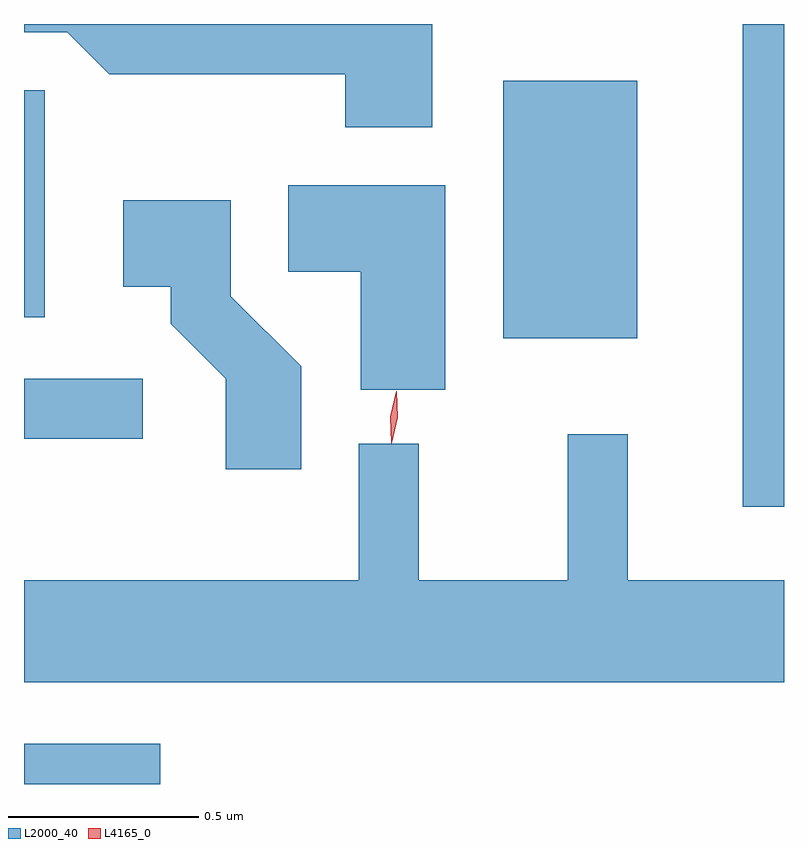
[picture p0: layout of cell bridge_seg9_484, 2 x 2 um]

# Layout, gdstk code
import gdstk
lib = gdstk.Library(unit=1e-6, precision=1e-09)
def R(c, l, rs):  # rectangles x0, y0, x1, y1
    for r in rs: c.add(gdstk.rectangle(r[:2], r[2:], *l))
def P(c, l, *ps):  # polygons
    for p in ps: c.add(gdstk.Polygon(p, *l))
L2000_40 = (2000, 40)
L4165_0 = (4165, 0)

bridge_seg9_484 = lib.new_cell('bridge_seg9_484')
R(bridge_seg9_484, L2000_40, [(438.615,1991.548,438.974,1991.654), (440.506,1992.278,440.615,1993.548), (438.615,1992.456,438.928,1992.614), (439.876,1992.721,440.229,1993.399), (438.615,1992.776,438.669,1993.374)])
P(bridge_seg9_484, L2000_40, [(439.689,1993.548),(438.615,1993.548),(438.615,1993.526),(438.729,1993.526),(438.839,1993.416),(439.461,1993.416),(439.461,1993.276),(439.689,1993.276)],
  [(439.724,1993.124),(439.311,1993.124),(439.311,1992.896),(439.501,1992.896),(439.501,1992.586),(439.724,1992.586)],
  [(439.344,1992.647),(439.159,1992.832),(439.159,1993.084),(438.876,1993.084),(438.876,1992.856),(439.001,1992.856),(439.001,1992.759),(439.146,1992.614),(439.146,1992.376),(439.344,1992.376)],
  [(440.615,1992.084),(440.204,1992.084),(440.204,1992.468),(440.046,1992.468),(440.046,1992.084),(439.654,1992.084),(439.654,1992.443),(439.496,1992.443),(439.496,1992.084),(438.615,1992.084),(438.615,1991.816),(440.615,1991.816)])
P(bridge_seg9_484, L4165_0, [(439.582,1992.445),(439.579,1992.514),(439.595,1992.582),(439.596,1992.582),(439.596,1992.582),(439.599,1992.513),(439.583,1992.445),(439.583,1992.445)])

lib.write_gds('bridge_seg9_484.gds')
